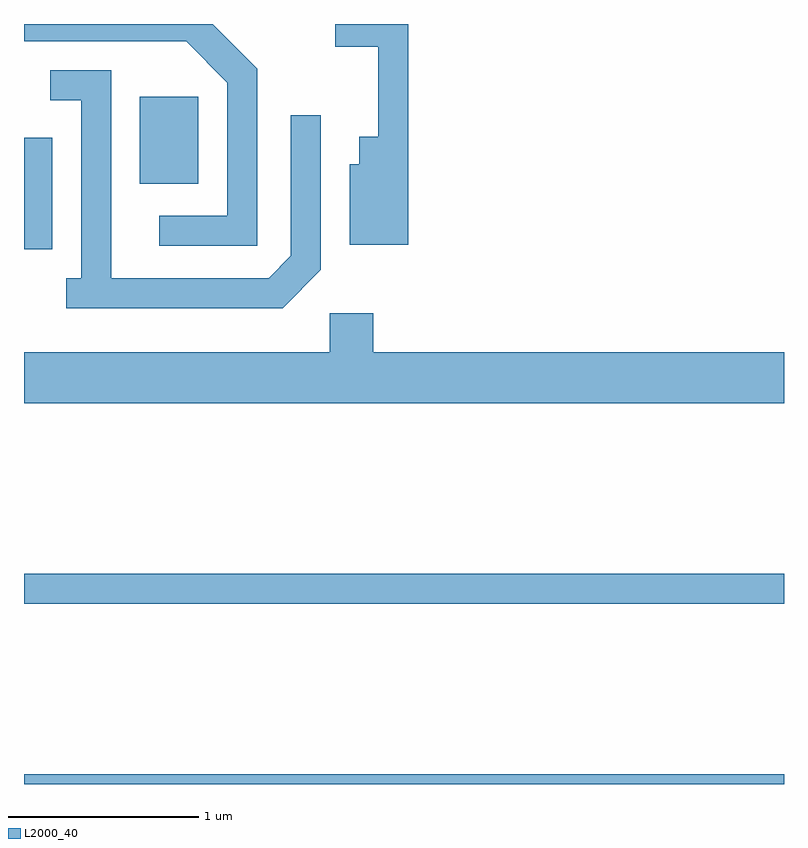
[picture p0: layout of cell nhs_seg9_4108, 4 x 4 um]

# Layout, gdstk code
import gdstk
lib = gdstk.Library(unit=1e-6, precision=1e-09)
def R(c, l, rs):  # rectangles x0, y0, x1, y1
    for r in rs: c.add(gdstk.rectangle(r[:2], r[2:], *l))
def P(c, l, *ps):  # polygons
    for p in ps: c.add(gdstk.Polygon(p, *l))
L2000_40 = (2000, 40)

nhs_seg9_4108 = lib.new_cell('nhs_seg9_4108')
R(nhs_seg9_4108, L2000_40, [(305.611,2036.432,309.611,2036.484), (305.611,2037.381,309.611,2037.539), (305.611,2039.246,305.759,2039.833), (306.221,2039.591,306.529,2040.049)])
P(nhs_seg9_4108, L2000_40, [(306.839,2040.197),(306.604,2040.432),(305.611,2040.432),(305.611,2040.341),(306.464,2040.341),(306.681,2040.124),(306.681,2039.424),(306.323,2039.424),(306.323,2039.266),(306.839,2039.266)],
  [(307.634,2040.432),(307.248,2040.432),(307.248,2040.311),(307.476,2040.311),(307.476,2039.839),(307.376,2039.839),(307.376,2039.694),(307.326,2039.694),(307.326,2039.271),(307.634,2039.271)],
  [(307.174,2039.139),(307.174,2039.953),(307.016,2039.953),(307.016,2039.212),(306.899,2039.094),(306.069,2039.094),(306.069,2040.189),(305.748,2040.189),(305.748,2040.031),(305.911,2040.031),(305.911,2039.094),(305.833,2039.094),(305.833,2038.936),(306.972,2038.936)],
  [(309.611,2038.704),(307.449,2038.704),(307.449,2038.909),(307.221,2038.909),(307.221,2038.704),(305.611,2038.704),(305.611,2038.436),(309.611,2038.436)])

lib.write_gds('nhs_seg9_4108.gds')
